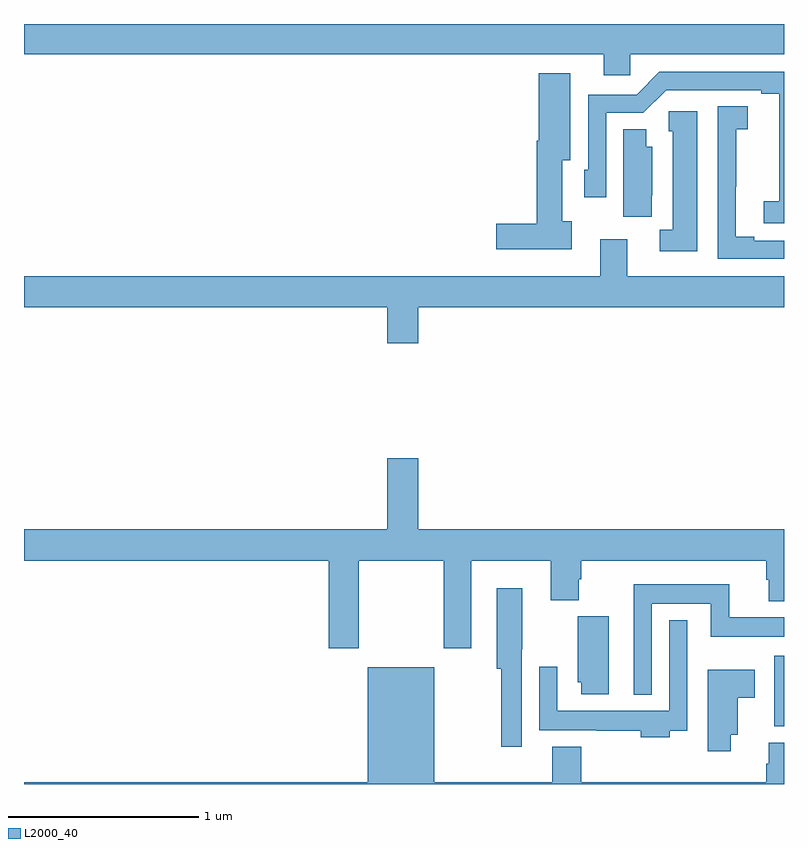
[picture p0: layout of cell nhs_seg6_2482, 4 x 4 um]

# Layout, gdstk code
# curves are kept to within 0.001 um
import gdstk
lib = gdstk.Library(unit=1e-6, precision=1e-09)
def R(c, l, rs):  # rectangles x0, y0, x1, y1
    for r in rs: c.add(gdstk.rectangle(r[:2], r[2:], *l))
def P(c, l, *ps):  # polygons
    for p in ps: c.add(gdstk.Polygon(p, *l))
L2000_40 = (2000, 40)

nhs_seg6_2482 = lib.new_cell('nhs_seg6_2482')
R(nhs_seg6_2482, L2000_40, [(262.949,939.803,263,940.174)])
P(nhs_seg6_2482, L2000_40, [(262.191,943.34),(263,943.34),(263,943.5),(259,943.5),(259,943.34),(262.052,943.34),(262.052,943.23),(262.191,943.23)],
  [(263,943.248),(262.344,943.248),(262.224,943.128),(261.969,943.128),(261.969,942.732),(261.948,942.732),(261.948,942.588),(262.065,942.588),(262.065,943.032),(262.26,943.032),(262.38,943.152),(262.88,943.152),(262.88,943.132),(262.976,943.132),(262.975,942.566),(262.893,942.566),(262.893,942.451),(263,942.451)],
  [(261.883,942.462),(261.832,942.462),(261.832,942.782),(261.874,942.782),(261.874,943.24),(261.71,943.24),(261.71,942.886),(261.698,942.886),(261.698,942.449),(261.486,942.449),(261.486,942.314),(261.883,942.314)],
  [(263,942.36),(262.843,942.36),(262.843,942.38),(262.747,942.38),(262.747,942.643),(262.749,942.643),(262.749,942.947),(262.81,942.947),(262.81,943.067),(262.65,943.067),(262.65,942.264),(263,942.264)],
  [(262.543,943.042),(262.393,943.042),(262.393,942.936),(262.415,942.936),(262.415,942.417),(262.347,942.417),(262.347,942.305),(262.543,942.305)],
  [(262.303,942.598),(262.306,942.598),(262.306,942.853),(262.276,942.853),(262.276,942.947),(262.154,942.947),(262.154,942.486),(262.303,942.486)],
  [(259,942.008),(260.912,942.008),(260.912,941.82),(261.076,941.82),(261.076,942.008),(263,942.008),(263,942.172),(262.174,942.172),(262.174,942.367),(262.034,942.367),(262.034,942.172),(259,942.172)],
  [(260.763,940.676),(261.208,940.676),(261.208,940.215),(261.355,940.215),(261.355,940.676),(261.772,940.676),(261.772,940.468),(261.919,940.468),(261.919,940.577),(261.932,940.577),(261.932,940.676),(262.907,940.676),(262.907,940.575),(262.919,940.575),(262.919,940.463),(263,940.463),(263,940.84),(261.076,940.84),(261.076,941.215),(260.912,941.215),(260.912,940.84),(259,940.84),(259,940.676),(260.603,940.676),(260.603,940.215),(260.763,940.215)],
  [(262.305,940.448),(262.614,940.448),(262.614,940.274),(263,940.274),(263,940.378),(262.712,940.378),(262.712,940.552),(262.208,940.552),(262.208,939.971),(262.305,939.971)],
  [(261.621,940.21),(261.622,940.21),(261.622,940.531),(261.488,940.531),(261.488,940.106),(261.513,940.106),(261.513,939.696),(261.621,939.696)],
  [(262.078,940.383),(261.914,940.383),(261.914,940.035),(261.932,940.035),(261.932,939.972),(262.078,939.972)],
  [(262.399,939.78),(262.491,939.78),(262.491,940.363),(262.395,940.363),(262.395,939.886),(261.807,939.886),(261.807,940.117),(261.711,940.117),(261.711,939.782),(262.015,939.782),(262.015,939.78),(262.247,939.78),(262.247,939.746),(262.399,939.746)],
  [(263,939.718),(262.919,939.718),(262.919,939.606),(262.907,939.606),(262.907,939.508),(261.932,939.508),(261.932,939.697),(261.779,939.697),(261.779,939.508),(261.16,939.508),(261.16,940.114),(260.81,940.114),(260.81,939.508),(259,939.508),(259,939.5),(263,939.5)],
  [(262.72,939.758),(262.756,939.758),(262.756,939.955),(262.846,939.955),(262.846,940.102),(262.598,940.102),(262.598,939.672),(262.72,939.672)])

lib.write_gds('nhs_seg6_2482.gds')
